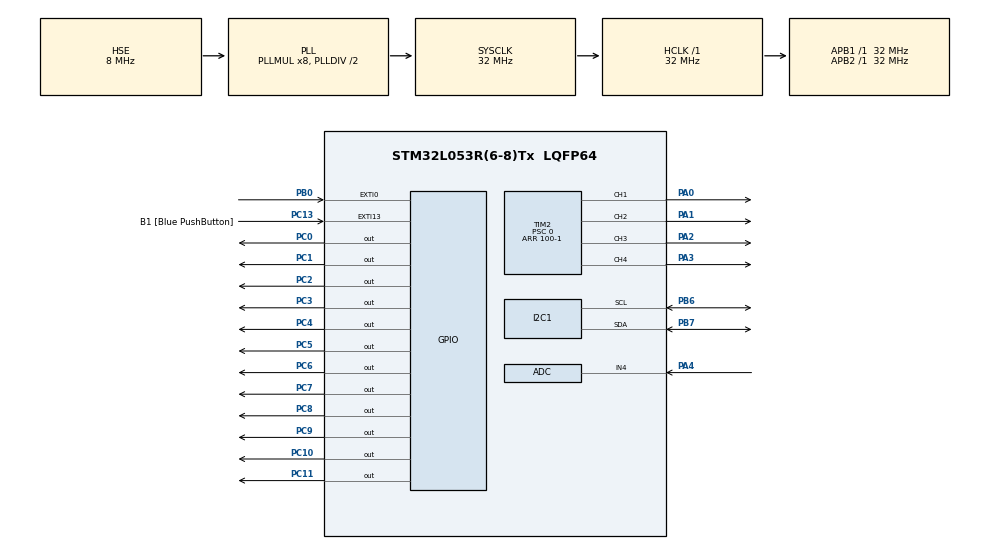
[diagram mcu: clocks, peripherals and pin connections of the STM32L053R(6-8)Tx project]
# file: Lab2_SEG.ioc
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ADC.ContinuousConvMode=ENABLE
ADC.SamplingTime=ADC_SAMPLETIME_39CYCLES_5
I2C1.OwnAddress=0
I2C1.Timing=0x00707CBB
Mcu.Family=STM32L0
Mcu.Name=STM32L053R(6-8)Tx
Mcu.Package=LQFP64
NVIC.EXTI0_1_IRQn=true\:0\:0\:false\:false\:true\:true\:true\:true
NVIC.TIM21_IRQn=true\:0\:0\:false\:false\:true\:true\:true\:true
PA0.Signal=S_TIM2_CH1
PA1.Signal=S_TIM2_CH2
PA13.GPIO_Label=TMS
PA13.Mode=Serial_Wire
PA13.Signal=SYS_SWDIO
PA14.GPIO_Label=TCK
PA14.Mode=Serial_Wire
PA14.Signal=SYS_SWCLK
PA2.Signal=S_TIM2_CH3
PA3.Signal=S_TIM2_CH4
PA4.Mode=IN4
PA4.Signal=ADC_IN4
PB0.Signal=GPXTI0
PB6.GPIO_Pu=GPIO_PULLUP
PB6.Mode=I2C
PB6.Signal=I2C1_SCL
PB7.GPIO_Pu=GPIO_PULLUP
PB7.Mode=I2C
PB7.Signal=I2C1_SDA
PC0.Signal=GPIO_Output
PC1.Signal=GPIO_Output
PC10.Signal=GPIO_Output
PC11.Signal=GPIO_Output
PC13.GPIO_Label=B1 [Blue PushButton]
PC13.GPIO_ModeDefaultEXTI=GPIO_MODE_IT_FALLING
PC13.Signal=GPXTI13
PC14-OSC32_IN.Mode=LSE-External-Oscillator
PC14-OSC32_IN.Signal=RCC_OSC32_IN
PC15-OSC32_OUT.Mode=LSE-External-Oscillator
PC15-OSC32_OUT.Signal=RCC_OSC32_OUT
PC2.Signal=GPIO_Output
PC3.Signal=GPIO_Output
PC4.Signal=GPIO_Output
PC5.Signal=GPIO_Output
PC6.Signal=GPIO_Output
PC7.Signal=GPIO_Output
PC8.Signal=GPIO_Output
PC9.Signal=GPIO_Output
PH0-OSC_IN.Mode=HSE-External-Oscillator
PH0-OSC_IN.Signal=RCC_OSC_IN
PH1-OSC_OUT.Mode=HSE-External-Oscillator
PH1-OSC_OUT.Signal=RCC_OSC_OUT
ProjectManager.HeapSize=0x200
ProjectManager.StackSize=0x400
ProjectManager.TargetToolchain=MDK-ARM V5.32
RCC.AHBFreq_Value=32000000
RCC.APB1Freq_Value=32000000
RCC.APB1TimFreq_Value=32000000
RCC.APB2Freq_Value=32000000
RCC.APB2TimFreq_Value=32000000
RCC.HCLKFreq_Value=32000000
RCC.HSE_VALUE=8000000
RCC.HSI16_VALUE=16000000
RCC.HSI48_VALUE=48000000
RCC.HSI_VALUE=16000000
RCC.MSI_VALUE=2097000
RCC.PLLMUL=RCC_PLLMUL_8
RCC.PLLSourceVirtual=RCC_PLLSOURCE_HSE
RCC.SYSCLKFreq_VALUE=32000000
RCC.SYSCLKSource=RCC_SYSCLKSOURCE_PLLCLK
RCC.VCOOutputFreq_Value=64000000
SH.S_TIM2_CH1.0=TIM2_CH1,PWM Generation1 CH1
SH.S_TIM2_CH2.0=TIM2_CH2,PWM Generation2 CH2
SH.S_TIM2_CH3.0=TIM2_CH3,PWM Generation3 CH3
SH.S_TIM2_CH4.0=TIM2_CH4,PWM Generation4 CH4
TIM2.Channel-PWM\ Generation1\ CH1=TIM_CHANNEL_1
TIM2.Channel-PWM\ Generation2\ CH2=TIM_CHANNEL_2
TIM2.Channel-PWM\ Generation3\ CH3=TIM_CHANNEL_3
TIM2.Channel-PWM\ Generation4\ CH4=TIM_CHANNEL_4
TIM2.Period=100-1
TIM2.Prescaler=0
TIM21.Period=100-1
TIM21.Prescaler=32-1
VP_TIM21_VS_ClockSourceINT.Mode=Internal
VP_TIM2_VS_ClockSourceINT.Mode=Internal
board=NUCLEO-L053R8

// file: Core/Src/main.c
/* USER CODE BEGIN Header */
/**
  ******************************************************************************
  * @file           : main.c
  * @brief          : Main program body
  ******************************************************************************
  * @attention
  *
  * Copyright (c) 2023 STMicroelectronics.
  * All rights reserved.
  *
  * This software is licensed under terms that can be found in the LICENSE file
  * in the root directory of this software component.
  * If no LICENSE file comes with this software, it is provided AS-IS.
  *
  ******************************************************************************
  */
/* USER CODE END Header */
#include "main.h"

/* USER CODE BEGIN Includes */
#include "IIC_1602.h"
#include <stdio.h>
/* USER CODE END Includes */

/* USER CODE BEGIN PD */
void Setpwm_duty(uint8_t channel,uint16_t val);
/* USER CODE END PD */

ADC_HandleTypeDef hadc;

I2C_HandleTypeDef hi2c1;

TIM_HandleTypeDef htim2;
TIM_HandleTypeDef htim21;

/* USER CODE BEGIN PV */
const uint8_t TBL_7SEG[] = {0x3F,0x06,0x5B,0x4F,0x66,0x6D,0x7D,0x07,0x7F,0x6F};

volatile uint16_t  TimerCnt_Scan ,TimerCnt_Lcd,TimerCnt_Adc;

uint8_t ScanLine;
uint16_t pwm_duty;
uint16_t adc_v;
float voltage;

typedef enum {
  MODE_1,
  MODE_2

} ModeState;

ModeState mode = MODE_1;
/* USER CODE END PV */

void SystemClock_Config(void);
static void MX_GPIO_Init(void);
static void MX_TIM21_Init(void);
static void MX_ADC_Init(void);
static void MX_I2C1_Init(void);
static void MX_TIM2_Init(void);

int main(void)
{

  /* MCU Configuration--------------------------------------------------------*/

  /* Reset of all peripherals, Initializes the Flash interface and the Systick. */
  HAL_Init();

  /* Configure the system clock */
  SystemClock_Config();

  /* Initialize all configured peripherals */
  MX_GPIO_Init();
  MX_TIM21_Init();
  MX_ADC_Init();
  MX_I2C1_Init();
  MX_TIM2_Init();
  /* USER CODE BEGIN 2 */
	HAL_TIM_Base_Start_IT(&htim21);

	HAL_TIM_PWM_Start(&htim2, TIM_CHANNEL_1);
	HAL_TIM_PWM_Start(&htim2, TIM_CHANNEL_2);
	HAL_TIM_PWM_Start(&htim2, TIM_CHANNEL_3);
	HAL_TIM_PWM_Start(&htim2, TIM_CHANNEL_4);

	HAL_ADCEx_Calibration_Start(&hadc,ADC_SINGLE_ENDED);
	HAL_ADC_Start(&hadc);

	Initialize_LCD(hi2c1);
	clear_LCD();

	TimerCnt_Lcd   = 0;
	TimerCnt_Scan	 = 0;
	TimerCnt_Adc   = 0;
	ScanLine       = 0;
	voltage        = 0;

  /* USER CODE END 2 */

  /* Infinite loop */
  /* USER CODE BEGIN WHILE */
  while (1)
  {
		if (TimerCnt_Adc == 0) {
			TimerCnt_Adc = 500;
			while(HAL_ADC_PollForConversion(&hadc,0) != HAL_OK);
			adc_v = HAL_ADC_GetValue(&hadc);

			pwm_duty = ((adc_v/4096.0)*100);
			pwm_duty =100-pwm_duty;
			voltage = (adc_v/4096.0)*3.3;
		}

		switch (mode) {
      case MODE_1:
			if (TimerCnt_Lcd == 0) {

				TimerCnt_Lcd = 2000;

				char str1[20];
				char str2[20];

				sprintf(str1, "Duty Cycle: %.3d", pwm_duty);
				sprintf(str2, "Voltage: %.2f", voltage);

				writes(0x80,str1);
				writes(0xC0,str2);

			}

        break;
      case MODE_2:
				if (TimerCnt_Scan == 0) {
				TimerCnt_Scan = 10;

				GPIOC->BRR = 0xFFF;
				__HAL_TIM_SET_COMPARE(&htim2, TIM_CHANNEL_1,7);
					switch (ScanLine) {
							case 0:
									Setpwm_duty(1,pwm_duty);//com1 on
									GPIOC ->BSRR =  TBL_7SEG[pwm_duty/1000]&0xff;
									ScanLine = 1;
									break;
							case 1:
									Setpwm_duty(2,pwm_duty);//com2 on
									GPIOC ->BSRR =  TBL_7SEG[(pwm_duty/100)%10]&0xff;
									ScanLine = 2;
									break;
							case 2:
									Setpwm_duty(3,pwm_duty);//com3 on
									GPIOC ->BSRR =  TBL_7SEG[(pwm_duty/10)%10]&0xff;

									ScanLine = 3;
									break;
							case 3:
									Setpwm_duty(4,pwm_duty);//com4 on
									GPIOC ->BSRR =  TBL_7SEG[pwm_duty%10]&0xff;

									ScanLine = 0;
									break;
					}
				}

        break;
    }

    /* USER CODE END WHILE */

  }
}

void SystemClock_Config(void)
{
  RCC_OscInitTypeDef RCC_OscInitStruct = {0};
  RCC_ClkInitTypeDef RCC_ClkInitStruct = {0};
  RCC_PeriphCLKInitTypeDef PeriphClkInit = {0};

  /** Configure the main internal regulator output voltage
  */
  __HAL_PWR_VOLTAGESCALING_CONFIG(PWR_REGULATOR_VOLTAGE_SCALE1);

  /** Initializes the RCC Oscillators according to the specified parameters
  * in the RCC_OscInitTypeDef structure.
  */
  RCC_OscInitStruct.OscillatorType = RCC_OSCILLATORTYPE_HSE;
  RCC_OscInitStruct.HSEState = RCC_HSE_ON;
  RCC_OscInitStruct.PLL.PLLState = RCC_PLL_ON;
  RCC_OscInitStruct.PLL.PLLSource = RCC_PLLSOURCE_HSE;
  RCC_OscInitStruct.PLL.PLLMUL = RCC_PLLMUL_8;
  RCC_OscInitStruct.PLL.PLLDIV = RCC_PLLDIV_2;
  if (HAL_RCC_OscConfig(&RCC_OscInitStruct) != HAL_OK)
  {
    Error_Handler();
  }

  /** Initializes the CPU, AHB and APB buses clocks
  */
  RCC_ClkInitStruct.ClockType = RCC_CLOCKTYPE_HCLK|RCC_CLOCKTYPE_SYSCLK
                              |RCC_CLOCKTYPE_PCLK1|RCC_CLOCKTYPE_PCLK2;
  RCC_ClkInitStruct.SYSCLKSource = RCC_SYSCLKSOURCE_PLLCLK;
  RCC_ClkInitStruct.AHBCLKDivider = RCC_SYSCLK_DIV1;
  RCC_ClkInitStruct.APB1CLKDivider = RCC_HCLK_DIV1;
  RCC_ClkInitStruct.APB2CLKDivider = RCC_HCLK_DIV1;

  if (HAL_RCC_ClockConfig(&RCC_ClkInitStruct, FLASH_LATENCY_1) != HAL_OK)
  {
    Error_Handler();
  }
  PeriphClkInit.PeriphClockSelection = RCC_PERIPHCLK_I2C1;
  PeriphClkInit.I2c1ClockSelection = RCC_I2C1CLKSOURCE_PCLK1;
  if (HAL_RCCEx_PeriphCLKConfig(&PeriphClkInit) != HAL_OK)
  {
    Error_Handler();
  }
}

static void MX_ADC_Init(void)
{

  ADC_ChannelConfTypeDef sConfig = {0};

  /** Configure the global features of the ADC (Clock, Resolution, Data Alignment and number of conversion)
  */
  hadc.Instance = ADC1;
  hadc.Init.OversamplingMode = DISABLE;
  hadc.Init.ClockPrescaler = ADC_CLOCK_SYNC_PCLK_DIV2;
  hadc.Init.Resolution = ADC_RESOLUTION_12B;
  hadc.Init.SamplingTime = ADC_SAMPLETIME_39CYCLES_5;
  hadc.Init.ScanConvMode = ADC_SCAN_DIRECTION_FORWARD;
  hadc.Init.DataAlign = ADC_DATAALIGN_RIGHT;
  hadc.Init.ContinuousConvMode = ENABLE;
  hadc.Init.DiscontinuousConvMode = DISABLE;
  hadc.Init.ExternalTrigConvEdge = ADC_EXTERNALTRIGCONVEDGE_NONE;
  hadc.Init.ExternalTrigConv = ADC_SOFTWARE_START;
  hadc.Init.DMAContinuousRequests = DISABLE;
  hadc.Init.EOCSelection = ADC_EOC_SINGLE_CONV;
  hadc.Init.Overrun = ADC_OVR_DATA_PRESERVED;
  hadc.Init.LowPowerAutoWait = DISABLE;
  hadc.Init.LowPowerFrequencyMode = DISABLE;
  hadc.Init.LowPowerAutoPowerOff = DISABLE;
  if (HAL_ADC_Init(&hadc) != HAL_OK)
  {
    Error_Handler();
  }

  /** Configure for the selected ADC regular channel to be converted.
  */
  sConfig.Channel = ADC_CHANNEL_4;
  sConfig.Rank = ADC_RANK_CHANNEL_NUMBER;
  if (HAL_ADC_ConfigChannel(&hadc, &sConfig) != HAL_OK)
  {
    Error_Handler();
  }

}

static void MX_I2C1_Init(void)
{

  hi2c1.Instance = I2C1;
  hi2c1.Init.Timing = 0x00707CBB;
  hi2c1.Init.OwnAddress1 = 0;
  hi2c1.Init.AddressingMode = I2C_ADDRESSINGMODE_7BIT;
  hi2c1.Init.DualAddressMode = I2C_DUALADDRESS_DISABLE;
  hi2c1.Init.OwnAddress2 = 0;
  hi2c1.Init.OwnAddress2Masks = I2C_OA2_NOMASK;
  hi2c1.Init.GeneralCallMode = I2C_GENERALCALL_DISABLE;
  hi2c1.Init.NoStretchMode = I2C_NOSTRETCH_DISABLE;
  if (HAL_I2C_Init(&hi2c1) != HAL_OK)
  {
    Error_Handler();
  }

  /** Configure Analogue filter
  */
  if (HAL_I2CEx_ConfigAnalogFilter(&hi2c1, I2C_ANALOGFILTER_ENABLE) != HAL_OK)
  {
    Error_Handler();
  }

  /** Configure Digital filter
  */
  if (HAL_I2CEx_ConfigDigitalFilter(&hi2c1, 0) != HAL_OK)
  {
    Error_Handler();
  }

}

static void MX_TIM2_Init(void)
{

  TIM_ClockConfigTypeDef sClockSourceConfig = {0};
  TIM_MasterConfigTypeDef sMasterConfig = {0};
  TIM_OC_InitTypeDef sConfigOC = {0};

  htim2.Instance = TIM2;
  htim2.Init.Prescaler = 0;
  htim2.Init.CounterMode = TIM_COUNTERMODE_UP;
  htim2.Init.Period = 100-1;
  htim2.Init.ClockDivision = TIM_CLOCKDIVISION_DIV1;
  htim2.Init.AutoReloadPreload = TIM_AUTORELOAD_PRELOAD_DISABLE;
  if (HAL_TIM_Base_Init(&htim2) != HAL_OK)
  {
    Error_Handler();
  }
  sClockSourceConfig.ClockSource = TIM_CLOCKSOURCE_INTERNAL;
  if (HAL_TIM_ConfigClockSource(&htim2, &sClockSourceConfig) != HAL_OK)
  {
    Error_Handler();
  }
  if (HAL_TIM_PWM_Init(&htim2) != HAL_OK)
  {
    Error_Handler();
  }
  sMasterConfig.MasterOutputTrigger = TIM_TRGO_RESET;
  sMasterConfig.MasterSlaveMode = TIM_MASTERSLAVEMODE_DISABLE;
  if (HAL_TIMEx_MasterConfigSynchronization(&htim2, &sMasterConfig) != HAL_OK)
  {
    Error_Handler();
  }
  sConfigOC.OCMode = TIM_OCMODE_PWM1;
  sConfigOC.Pulse = 0;
  sConfigOC.OCPolarity = TIM_OCPOLARITY_HIGH;
  sConfigOC.OCFastMode = TIM_OCFAST_DISABLE;
  if (HAL_TIM_PWM_ConfigChannel(&htim2, &sConfigOC, TIM_CHANNEL_1) != HAL_OK)
  {
    Error_Handler();
  }
  if (HAL_TIM_PWM_ConfigChannel(&htim2, &sConfigOC, TIM_CHANNEL_2) != HAL_OK)
  {
    Error_Handler();
  }
  if (HAL_TIM_PWM_ConfigChannel(&htim2, &sConfigOC, TIM_CHANNEL_3) != HAL_OK)
  {
    Error_Handler();
  }
  if (HAL_TIM_PWM_ConfigChannel(&htim2, &sConfigOC, TIM_CHANNEL_4) != HAL_OK)
  {
    Error_Handler();
  }
  HAL_TIM_MspPostInit(&htim2);

}

static void MX_TIM21_Init(void)
{

  TIM_ClockConfigTypeDef sClockSourceConfig = {0};
  TIM_MasterConfigTypeDef sMasterConfig = {0};

  htim21.Instance = TIM21;
  htim21.Init.Prescaler = 32-1;
  htim21.Init.CounterMode = TIM_COUNTERMODE_UP;
  htim21.Init.Period = 100-1;
  htim21.Init.ClockDivision = TIM_CLOCKDIVISION_DIV1;
  htim21.Init.AutoReloadPreload = TIM_AUTORELOAD_PRELOAD_DISABLE;
  if (HAL_TIM_Base_Init(&htim21) != HAL_OK)
  {
    Error_Handler();
  }
  sClockSourceConfig.ClockSource = TIM_CLOCKSOURCE_INTERNAL;
  if (HAL_TIM_ConfigClockSource(&htim21, &sClockSourceConfig) != HAL_OK)
  {
    Error_Handler();
  }
  sMasterConfig.MasterOutputTrigger = TIM_TRGO_RESET;
  sMasterConfig.MasterSlaveMode = TIM_MASTERSLAVEMODE_DISABLE;
  if (HAL_TIMEx_MasterConfigSynchronization(&htim21, &sMasterConfig) != HAL_OK)
  {
    Error_Handler();
  }

}

static void MX_GPIO_Init(void)
{
  GPIO_InitTypeDef GPIO_InitStruct = {0};

  /* GPIO Ports Clock Enable */
  __HAL_RCC_GPIOC_CLK_ENABLE();
  __HAL_RCC_GPIOH_CLK_ENABLE();
  __HAL_RCC_GPIOA_CLK_ENABLE();
  __HAL_RCC_GPIOB_CLK_ENABLE();

  /*Configure GPIO pin Output Level */
  HAL_GPIO_WritePin(GPIOC, GPIO_PIN_0|GPIO_PIN_1|GPIO_PIN_2|GPIO_PIN_3
                          |GPIO_PIN_4|GPIO_PIN_5|GPIO_PIN_6|GPIO_PIN_7
                          |GPIO_PIN_8|GPIO_PIN_9|GPIO_PIN_10|GPIO_PIN_11, GPIO_PIN_RESET);

  /*Configure GPIO pin : B1_Pin */
  GPIO_InitStruct.Pin = B1_Pin;
  GPIO_InitStruct.Mode = GPIO_MODE_IT_FALLING;
  GPIO_InitStruct.Pull = GPIO_NOPULL;
  HAL_GPIO_Init(B1_GPIO_Port, &GPIO_InitStruct);

  /*Configure GPIO pins : PC0 PC1 PC2 PC3
                           PC4 PC5 PC6 PC7
                           PC8 PC9 PC10 PC11 */
  GPIO_InitStruct.Pin = GPIO_PIN_0|GPIO_PIN_1|GPIO_PIN_2|GPIO_PIN_3
                          |GPIO_PIN_4|GPIO_PIN_5|GPIO_PIN_6|GPIO_PIN_7
                          |GPIO_PIN_8|GPIO_PIN_9|GPIO_PIN_10|GPIO_PIN_11;
  GPIO_InitStruct.Mode = GPIO_MODE_OUTPUT_PP;
  GPIO_InitStruct.Pull = GPIO_NOPULL;
  GPIO_InitStruct.Speed = GPIO_SPEED_FREQ_LOW;
  HAL_GPIO_Init(GPIOC, &GPIO_InitStruct);

  /*Configure GPIO pin : PB0 */
  GPIO_InitStruct.Pin = GPIO_PIN_0;
  GPIO_InitStruct.Mode = GPIO_MODE_IT_RISING;
  GPIO_InitStruct.Pull = GPIO_NOPULL;
  HAL_GPIO_Init(GPIOB, &GPIO_InitStruct);

  /* EXTI interrupt init*/
  HAL_NVIC_SetPriority(EXTI0_1_IRQn, 0, 0);
  HAL_NVIC_EnableIRQ(EXTI0_1_IRQn);

}

/* USER CODE BEGIN 4 */
void HAL_TIM_PeriodElapsedCallback(TIM_HandleTypeDef *htim)
{
	 if(htim->Instance == htim21.Instance){

		 if(TimerCnt_Scan>0)
				TimerCnt_Scan--;
		 if(TimerCnt_Lcd>0)
				TimerCnt_Lcd--;
		 if(TimerCnt_Adc>0)
				TimerCnt_Adc--;

 }

}
void HAL_GPIO_EXTI_Callback(uint16_t GPIO_Pin) {
  if (GPIO_Pin == GPIO_PIN_0) {
    if (mode == MODE_2) {
      mode = MODE_1;
    } else {
      mode++;
    }
		//init
    clear_LCD();
		Setpwm_duty(0,100);
  }
}
void Setpwm_duty(uint8_t channel, uint16_t val) {
    val = 100 - val;

    uint16_t pwm_values[4] = {100, 100, 100, 100};

		if(channel<=4 && channel>=1)
			pwm_values[channel - 1] = val;

		htim2.Instance ->CCR1 =  pwm_values[0];
		htim2.Instance ->CCR2 =  pwm_values[1];
		htim2.Instance ->CCR3 =  pwm_values[2];
		htim2.Instance ->CCR4 =  pwm_values[3];
}

/* USER CODE END 4 */

void Error_Handler(void)
{
  __disable_irq();
  while (1)
  {
  }
}
